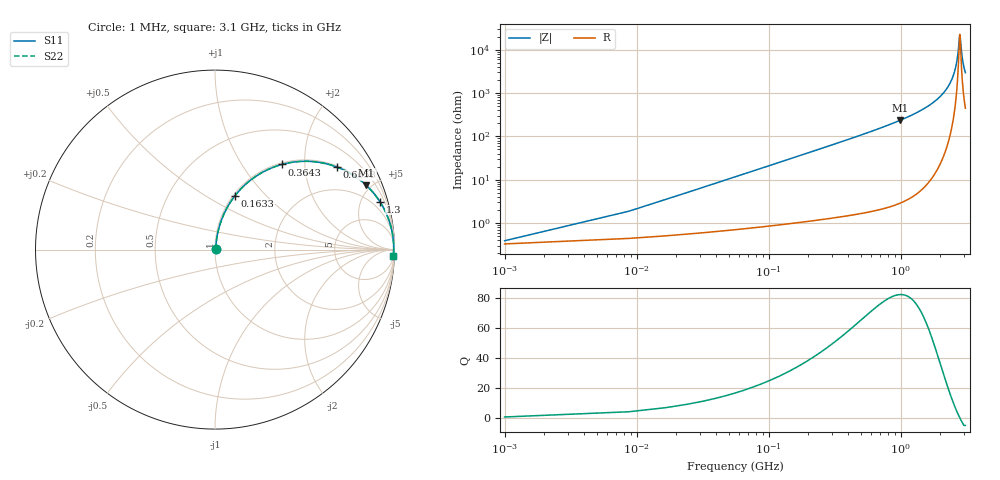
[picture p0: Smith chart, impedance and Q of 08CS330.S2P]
! Coilcraft 0805CS-330 Chip Inductor
! 11 June 2002
# MHZ S MA R 50
!Freq  MagS11  AngS11  MagS21  AngS21  MagS12  AngS12  MagS22  AngS22
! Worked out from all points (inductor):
!   402 points, 1 MHz to 3.1 GHz, reference 50 ohm
!   read as one part in series: L = 33 nH near 16.46 MHz
!   highest Q = 82.2 at 990.4 MHz (marker M1), where L = 37.7 nH
!   self-resonance near 2.807 GHz
!   S11 on the Smith chart (normalised r, x): 1 MHz: 1.01, +0.00; 163.3 MHz: 1.02, +0.68; 364.3 MHz: 1.03, +1.54; 665.8 MHz: 1.04, +2.92; 1.3 GHz: 1.09, +6.85; 3.1 GHz: 10, -59
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1  0.00386 32.3  0.9967 -0.1  0.9967 -0.1  0.00386 32.3
24.19  0.05012 80.9  0.9933 -2.9  0.9933 -2.9  0.05012 80.9
31.92  0.06592 81.1  0.992 -3.8  0.992 -3.8  0.06592 81.1
47.38  0.09738 80.6  0.9887 -5.6  0.9887 -5.6  0.09738 80.6
93.76  0.1897 76.6  0.9738 -10.9  0.9738 -10.9  0.1897 76.6
163.33  0.319 69.7  0.9384 -18.6  0.9384 -18.6  0.319 69.7
248.36  0.4565 61.5  0.8794 -27.2  0.8794 -27.2  0.4565 61.5
364.31  0.604 51.8  0.7861 -37.1  0.7861 -37.1  0.604 51.8
518.91  0.7386 41.5  0.6631 -47.6  0.6631 -47.6  0.7386 41.5
665.78  0.8204 34.1  0.5609 -55.1  0.5609 -55.1  0.8204 34.1
990.44  0.9158 23.0  0.3906 -66.3  0.3906 -66.3  0.9158 23.0
1036.82  0.924 21.8  0.3714 -67.5  0.3714 -67.5  0.924 21.8
1299.64  0.9566 16.2  0.2792 -73.0  0.2792 -73.0  0.9566 16.2
1554.73  0.9744 12.1  0.21 -77.0  0.21 -77.0  0.9744 12.1
2072.64  0.9911 6.1  0.1055 -82.1  0.1055 -82.1  0.9911 6.1
2381.84  0.9947 3.3  0.05717 -83.1  0.05717 -83.1  0.9947 3.3
2590.55  0.9956 1.6  0.02849 -80.3  0.02849 -80.3  0.9956 1.6
2698.77  0.9957 0.8  0.01482 -72.8  0.01482 -72.8  0.9957 0.8
2791.53  0.9956 0.2  0.005116 -31.5  0.005116 -31.5  0.9956 0.2
2814.72  0.9956 -0.0  0.004402 1.7  0.004402 1.7  0.9956 -0.0
2946.13  0.9952 -0.9  0.01638 72.5  0.01638 72.5  0.9952 -0.9
3100  0.9944 -1.9  0.03346 79.5  0.03346 79.5  0.9944 -1.9
